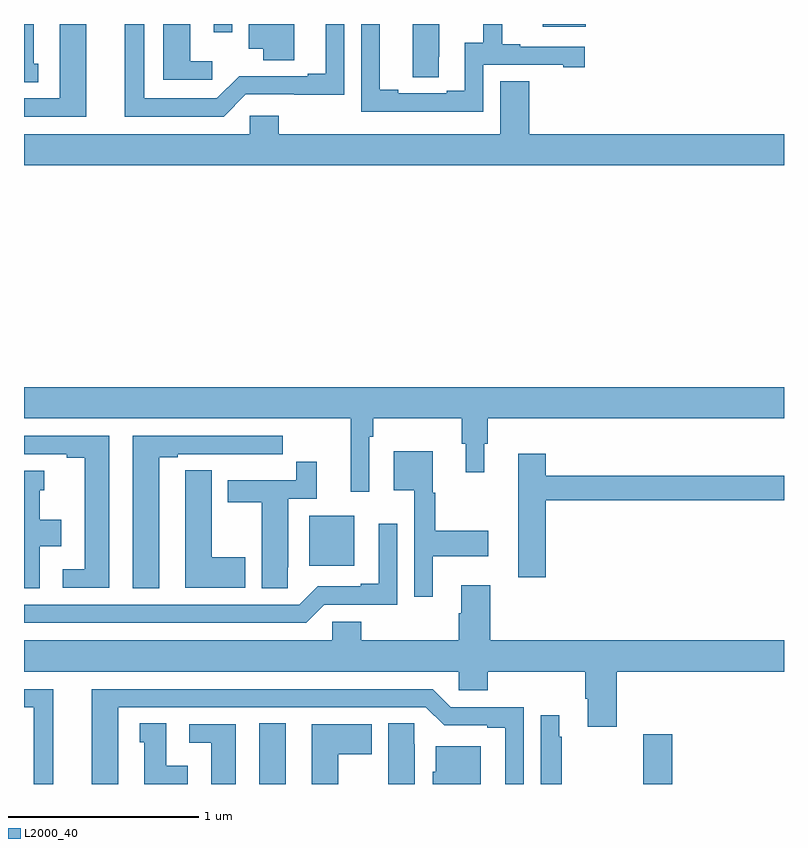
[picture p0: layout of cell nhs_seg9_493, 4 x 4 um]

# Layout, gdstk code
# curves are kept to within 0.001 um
import gdstk
lib = gdstk.Library(unit=1e-6, precision=1e-09)
def R(c, l, rs):  # rectangles x0, y0, x1, y1
    for r in rs: c.add(gdstk.rectangle(r[:2], r[2:], *l))
def P(c, l, *ps):  # polygons
    for p in ps: c.add(gdstk.Polygon(p, *l))
L2000_40 = (2000, 40)

nhs_seg9_493 = lib.new_cell('nhs_seg9_493')
R(nhs_seg9_493, L2000_40, [(136.238,1190.5,136.378,1190.819), (136.502,1191.65,136.738,1191.913), (135.999,1194.456,136.095,1194.5), (137.729,1194.485,137.956,1194.5)])
P(nhs_seg9_493, L2000_40, [(136.167,1194.129),(136.686,1194.128),(136.686,1194.5),(136.589,1194.5),(136.589,1194.238),(136.493,1194.238),(136.493,1194.225),(136.132,1194.226),(136.014,1194.108),(135.634,1194.108),(135.634,1194.5),(135.53,1194.5),(135.53,1194.012),(136.05,1194.012)],
  [(137.184,1194.328),(137.185,1194.328),(137.185,1194.5),(137.045,1194.5),(137.045,1194.22),(137.184,1194.22)],
  [(135.991,1194.304),(135.874,1194.304),(135.874,1194.5),(135.734,1194.5),(135.734,1194.207),(135.991,1194.207)],
  [(137.418,1194.285),(137.837,1194.285),(137.837,1194.273),(137.95,1194.273),(137.95,1194.381),(137.611,1194.381),(137.611,1194.394),(137.516,1194.394),(137.516,1194.5),(137.416,1194.5),(137.416,1194.401),(137.321,1194.401),(137.321,1194.15),(137.225,1194.15),(137.225,1194.135),(136.969,1194.135),(136.969,1194.155),(136.873,1194.155),(136.873,1194.5),(136.776,1194.5),(136.776,1194.039),(137.418,1194.039)],
  [(135.076,1194.291),(135.052,1194.291),(135.052,1194.5),(135,1194.5),(135,1194.193),(135.076,1194.193)],
  [(135.328,1194.5),(135.188,1194.5),(135.188,1194.108),(135,1194.108),(135,1194.012),(135.328,1194.012)],
  [(136.423,1194.5),(136.184,1194.5),(136.184,1194.371),(136.259,1194.371),(136.259,1194.31),(136.423,1194.31)],
  [(139,1193.92),(137.66,1193.92),(137.66,1194.2),(137.507,1194.2),(137.507,1193.92),(136.34,1193.92),(136.34,1194.018),(136.188,1194.018),(136.188,1193.92),(135,1193.92),(135,1193.756),(139,1193.756)],
  [(136.818,1192.328),(136.838,1192.328),(136.838,1192.424),(137.305,1192.424),(137.305,1192.29),(137.324,1192.29),(137.324,1192.14),(137.422,1192.14),(137.422,1192.29),(137.441,1192.29),(137.441,1192.424),(139,1192.424),(139,1192.588),(135,1192.588),(135,1192.424),(136.721,1192.424),(136.721,1192.038),(136.818,1192.038)],
  [(135.448,1192.332),(135,1192.332),(135,1192.236),(135.224,1192.236),(135.224,1192.216),(135.32,1192.216),(135.32,1191.63),(135.204,1191.63),(135.204,1191.534),(135.448,1191.534)],
  [(135.712,1192.221),(135.808,1192.221),(135.808,1192.236),(136.084,1192.236),(136.084,1192.235),(136.25,1192.235),(136.25,1192.236),(136.363,1192.236),(136.363,1192.332),(135.572,1192.332),(135.572,1191.529),(135.712,1191.529)],
  [(137.152,1191.698),(137.443,1191.698),(137.443,1191.833),(137.164,1191.833),(137.164,1192.032),(137.152,1192.032),(137.152,1192.252),(136.946,1192.252),(136.946,1192.046),(137.055,1192.046),(137.055,1191.486),(137.152,1191.486)],
  [(137.747,1191.994),(139,1191.994),(139,1192.123),(137.747,1192.123),(137.747,1192.237),(137.6,1192.237),(137.6,1191.588),(137.747,1191.588)],
  [(136.389,1191.64),(136.39,1191.64),(136.39,1192.002),(136.541,1192.002),(136.541,1192.195),(136.432,1192.195),(136.432,1192.098),(136.073,1192.098),(136.073,1191.982),(136.25,1191.982),(136.25,1191.529),(136.389,1191.529)],
  [(136.165,1191.693),(135.988,1191.693),(135.988,1192.151),(135.849,1192.151),(135.849,1192.043),(135.848,1192.043),(135.848,1191.533),(136.165,1191.533)],
  [(135.082,1191.752),(135.196,1191.752),(135.196,1191.892),(135.082,1191.892),(135.082,1192.047),(135.106,1192.047),(135.106,1192.15),(135,1192.15),(135,1191.529),(135.082,1191.529)],
  [(136.581,1191.444),(136.965,1191.444),(136.965,1191.871),(136.868,1191.871),(136.868,1191.553),(136.772,1191.553),(136.772,1191.54),(136.545,1191.54),(136.449,1191.444),(135,1191.444),(135,1191.348),(136.485,1191.348)],
  [(138.119,1191.092),(139,1191.092),(139,1191.256),(137.453,1191.256),(137.453,1191.547),(137.3,1191.547),(137.3,1191.398),(137.288,1191.398),(137.288,1191.256),(136.775,1191.256),(136.775,1191.354),(136.623,1191.354),(136.623,1191.256),(135,1191.256),(135,1191.092),(137.289,1191.092),(137.289,1190.994),(137.441,1190.994),(137.441,1191.092),(137.954,1191.092),(137.954,1190.95),(137.966,1190.95),(137.966,1190.802),(138.119,1190.802)],
  [(135.154,1191),(135,1191),(135,1190.904),(135.05,1190.904),(135.05,1190.5),(135.154,1190.5)],
  [(135.496,1190.904),(137.115,1190.904),(137.211,1190.808),(137.438,1190.808),(137.438,1190.796),(137.534,1190.796),(137.534,1190.5),(137.631,1190.5),(137.631,1190.904),(137.247,1190.904),(137.151,1191),(135.356,1191),(135.356,1190.5),(135.496,1190.5)],
  [(137.83,1190.75),(137.818,1190.75),(137.818,1190.863),(137.721,1190.863),(137.721,1190.5),(137.83,1190.5)],
  [(135.862,1190.596),(135.748,1190.596),(135.748,1190.819),(135.608,1190.819),(135.608,1190.721),(135.632,1190.721),(135.632,1190.5),(135.862,1190.5)],
  [(137.056,1190.708),(137.055,1190.708),(137.055,1190.819),(136.916,1190.819),(136.916,1190.5),(137.056,1190.5)],
  [(136.654,1190.656),(136.831,1190.656),(136.831,1190.815),(136.514,1190.815),(136.514,1190.5),(136.654,1190.5)],
  [(136.114,1190.814),(135.87,1190.814),(135.87,1190.718),(135.986,1190.718),(135.986,1190.5),(136.114,1190.5)],
  [(138.413,1190.761),(138.259,1190.761),(138.259,1190.566),(138.26,1190.566),(138.26,1190.5),(138.413,1190.5)],
  [(137.404,1190.698),(137.168,1190.698),(137.168,1190.565),(137.15,1190.565),(137.15,1190.5),(137.404,1190.5)])

lib.write_gds('nhs_seg9_493.gds')
